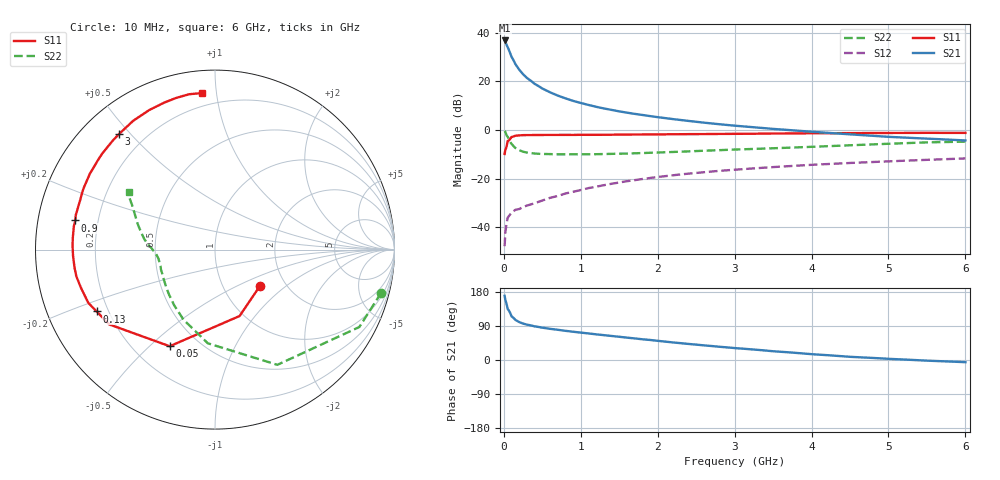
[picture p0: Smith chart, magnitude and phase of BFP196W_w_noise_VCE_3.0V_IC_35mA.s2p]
! Infineon Technologies  Discrete & RF Semiconductors
! BFP196W
! VCE =  3.0 V,  IC =  35 mA
! Common Emitter S-Parameters:  Jan 2017
# GHz  S  MA  R  50
!  f  S11  S21  S12  S22
! GHz  MAG  ANG  MAG  ANG  MAG  ANG  MAG  ANG
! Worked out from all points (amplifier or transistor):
!   77 points, 10 MHz to 6 GHz, reference 50 ohm
!   highest |S21| = 36.9 dB at 10 MHz (marker M1)
!   |S21| within 3 dB of that: start of sweep to 53.07 MHz
!   unconditionally stable (mu >= 1): 772 MHz to 3.312 GHz
!   at 130 MHz: K = 0.36, MSG = 30.9 dB, |S12| = -33.3 dB
!   at 2.2 GHz: K = 1.04, MAG = 10.3 dB, |S12| = -18.6 dB
!   at 6 GHz: K = 0.94, MSG = 3.7 dB, |S12| = -11.7 dB
!   lowest NFmin = 1.19 dB at 450 MHz
!   S11 on the Smith chart (normalised r, x): 10 MHz: 1.48, -0.68; 50 MHz: 0.35, -0.58; 130 MHz: 0.16, -0.24; 900 MHz: 0.12, +0.10; 3 GHz: 0.11, +0.46; 6 GHz: 0.12, +0.91
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0.01  0.3223 -39.4  69.64 169.5  0.0041 79.8  0.9566 -14.6
0.02  0.3946 -69.7  65.85 158.4  0.0079 69.9  0.9125 -28.2
0.05  0.5946 -115.1  50.57 134.7  0.0158 53.6  0.7298 -61.6
0.1  0.7216 -144.7  32.12 115.1  0.02 42.1  0.5234 -94.4
0.13  0.7438 -152.4  26.43 110.3  0.0217 38.6  0.4595 -105.3
0.15  0.7657 -157.2  22.78 105.8  0.0229 36.6  0.4283 -114.1
0.2  0.777 -164.3  17.44 100.1  0.0238 38.2  0.3846 -126.3
0.25  0.7868 -169.1  14.09 96.1  0.0262 39.5  0.3593 -135.2
0.3  0.789 -172.6  11.81 93.3  0.028 41.8  0.3447 -141.6
0.4  0.7916 -177.5  8.938 88.8  0.0312 47.0  0.3296 -150.3
0.5  0.7936 178.8  7.158 85.3  0.0356 50.2  0.3227 -156.0
0.6  0.7949 175.7  5.988 82.3  0.0404 53.2  0.3208 -159.9
0.7  0.7951 173.2  5.128 79.8  0.0441 54.9  0.3173 -162.9
0.9  0.7952 168.2  3.987 74.6  0.0538 57.9  0.3176 -166.8
1.1  0.7983 164.1  3.287 70.1  0.0641 58.9  0.3185 -169.8
1.5  0.8064 156.1  2.425 61.3  0.0835 58.8  0.3266 -174.6
2.1  0.8178 144.7  1.761 48.5  0.113 55.7  0.3499 179.6
3  0.8368 129.8  1.232 31.5  0.1531 48.7  0.3975 171.7
3.1  0.8383 128.3  1.195 30.0  0.1571 47.8  0.4023 170.7
4.1  0.8601 114.0  0.902 14.1  0.1964 39.7  0.4591 160.7
5.1  0.873 103.3  0.714 2.2  0.2308 31.8  0.53 151.2
6  0.875 94.9  0.612 -5.8  0.2612 24.9  0.5787 146.1
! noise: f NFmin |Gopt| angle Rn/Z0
0.45  1.19  0.46  180  0.06
0.9  1.33  0.53  -174  0.06
1.9  2.17  0.68  -151  0.13
2.4  2.57  0.73  -145  0.23
